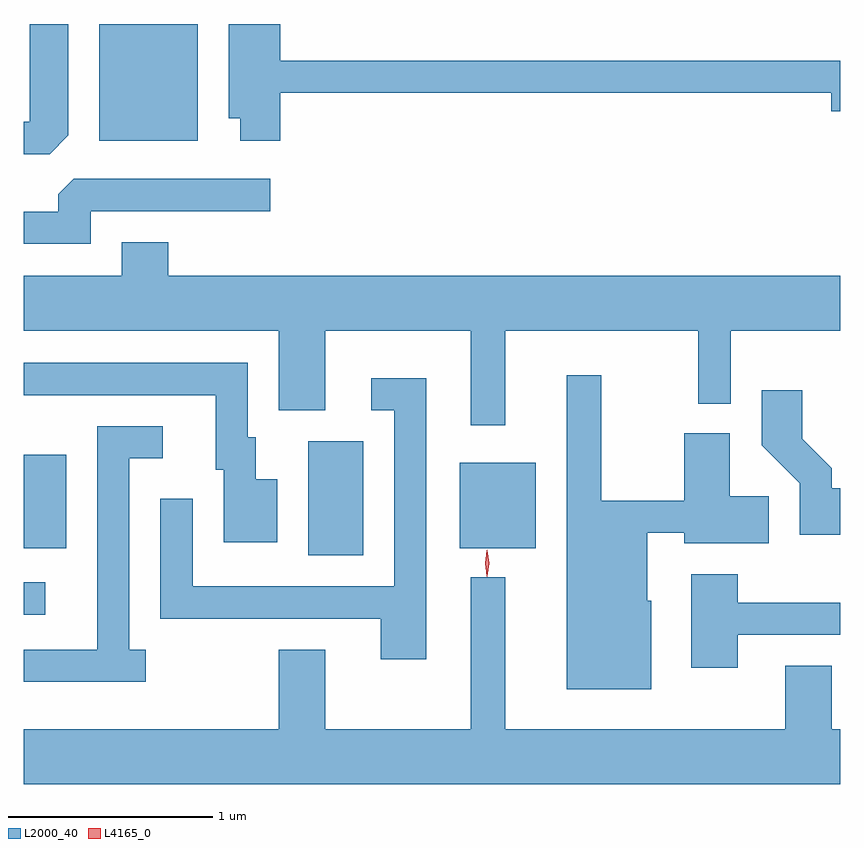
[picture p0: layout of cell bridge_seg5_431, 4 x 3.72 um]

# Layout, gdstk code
import gdstk
lib = gdstk.Library(unit=1e-6, precision=1e-09)
def R(c, l, rs):  # rectangles x0, y0, x1, y1
    for r in rs: c.add(gdstk.rectangle(r[:2], r[2:], *l))
def P(c, l, *ps):  # polygons
    for p in ps: c.add(gdstk.Polygon(p, *l))
L2000_40 = (2000, 40)
L4165_0 = (4165, 0)

bridge_seg5_431 = lib.new_cell('bridge_seg5_431')
R(bridge_seg5_431, L2000_40, [(260.521,1475.386,260.628,1475.544), (261.916,1475.676,262.184,1476.234), (260.521,1475.711,260.729,1476.169), (262.656,1475.711,263.029,1476.129), (260.891,1477.706,261.374,1478.278)])
P(bridge_seg5_431, L2000_40, [(260.739,1477.732),(260.739,1478.278),(260.551,1478.278),(260.551,1477.799),(260.521,1477.799),(260.521,1477.641),(260.649,1477.641)],
  [(261.779,1477.941),(264.476,1477.941),(264.476,1477.851),(264.521,1477.851),(264.521,1478.099),(261.779,1478.099),(261.779,1478.278),(261.526,1478.278),(261.526,1477.816),(261.581,1477.816),(261.581,1477.706),(261.779,1477.706)],
  [(260.849,1477.361),(261.728,1477.361),(261.728,1477.519),(260.767,1477.519),(260.691,1477.444),(260.691,1477.359),(260.521,1477.359),(260.521,1477.201),(260.849,1477.201)],
  [(262.879,1476.776),(263.826,1476.776),(263.826,1476.418),(263.984,1476.418),(263.984,1476.776),(264.521,1476.776),(264.521,1477.044),(261.229,1477.044),(261.229,1477.209),(261.001,1477.209),(261.001,1477.044),(260.521,1477.044),(260.521,1476.776),(261.771,1476.776),(261.771,1476.386),(261.999,1476.386),(261.999,1476.776),(262.711,1476.776),(262.711,1476.313),(262.879,1476.313)],
  [(261.764,1476.049),(261.659,1476.049),(261.659,1476.254),(261.619,1476.254),(261.619,1476.619),(260.521,1476.619),(260.521,1476.461),(261.461,1476.461),(261.461,1476.096),(261.501,1476.096),(261.501,1475.741),(261.764,1475.741)],
  [(263.594,1475.454),(263.574,1475.454),(263.574,1475.786),(263.756,1475.786),(263.756,1475.736),(264.169,1475.736),(264.169,1475.964),(263.979,1475.964),(263.979,1476.274),(263.756,1476.274),(263.756,1475.944),(263.349,1475.944),(263.349,1476.558),(263.181,1476.558),(263.181,1475.021),(263.594,1475.021)],
  [(262.494,1476.544),(262.223,1476.544),(262.223,1476.386),(262.336,1476.386),(262.336,1475.524),(261.349,1475.524),(261.349,1475.953),(261.191,1475.953),(261.191,1475.366),(262.271,1475.366),(262.271,1475.166),(262.494,1475.166)],
  [(264.521,1476.004),(264.479,1476.004),(264.479,1476.102),(264.334,1476.247),(264.334,1476.484),(264.136,1476.484),(264.136,1476.214),(264.321,1476.029),(264.321,1475.776),(264.521,1475.776)],
  [(261.118,1475.214),(261.039,1475.214),(261.039,1476.151),(261.203,1476.151),(261.203,1476.309),(260.881,1476.309),(260.881,1475.214),(260.521,1475.214),(260.521,1475.056),(261.118,1475.056)],
  [(264.019,1475.286),(264.521,1475.286),(264.521,1475.444),(264.019,1475.444),(264.019,1475.584),(263.791,1475.584),(263.791,1475.126),(264.019,1475.126)],
  [(264.521,1474.824),(264.479,1474.824),(264.479,1475.134),(264.251,1475.134),(264.251,1474.824),(262.879,1474.824),(262.879,1475.568),(262.711,1475.568),(262.711,1474.824),(261.999,1474.824),(261.999,1475.214),(261.771,1475.214),(261.771,1474.824),(260.521,1474.824),(260.521,1474.556),(264.521,1474.556)])
P(bridge_seg5_431, L4165_0, [(262.791,1475.572),(262.79,1475.573),(262.781,1475.637),(262.79,1475.701),(262.791,1475.702),(262.791,1475.701),(262.801,1475.637),(262.791,1475.573)])

lib.write_gds('bridge_seg5_431.gds')
